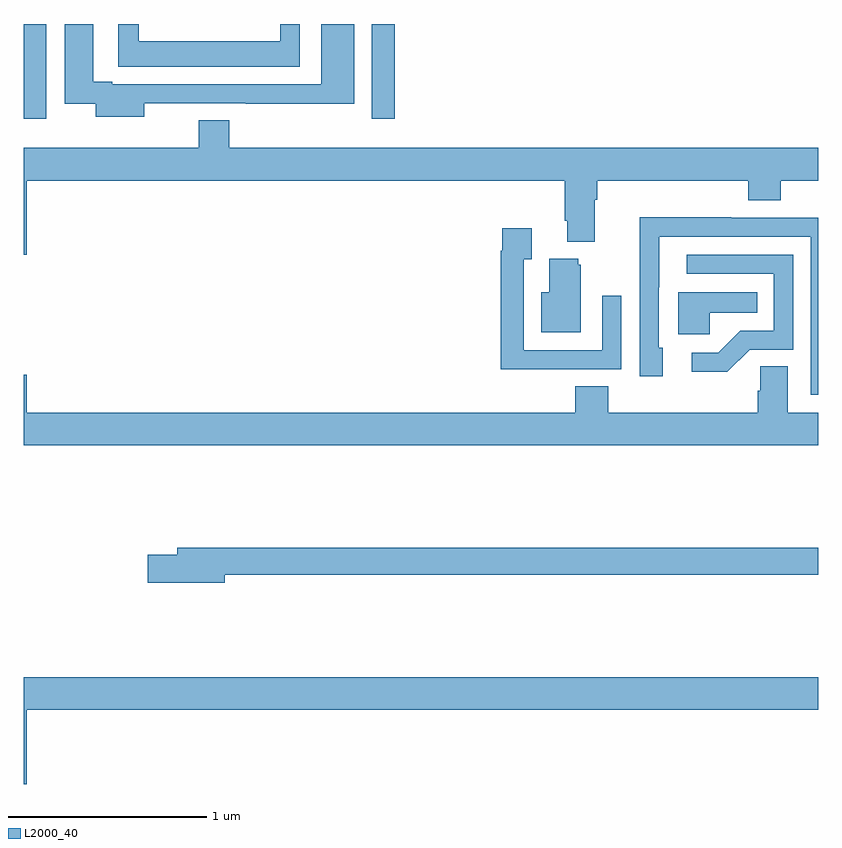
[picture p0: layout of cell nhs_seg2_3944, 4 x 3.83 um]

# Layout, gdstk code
import gdstk
lib = gdstk.Library(unit=1e-6, precision=1e-09)
def R(c, l, rs):  # rectangles x0, y0, x1, y1
    for r in rs: c.add(gdstk.rectangle(r[:2], r[2:], *l))
def P(c, l, *ps):  # polygons
    for p in ps: c.add(gdstk.Polygon(p, *l))
L2000_40 = (2000, 40)

nhs_seg2_3944 = lib.new_cell('nhs_seg2_3944')
R(nhs_seg2_3944, L2000_40, [(321,605.322,321.114,605.8), (322.752,605.322,322.868,605.8)])
P(nhs_seg2_3944, L2000_40, [(322.389,605.8),(322.292,605.8),(322.292,605.713),(321.58,605.713),(321.58,605.8),(321.476,605.8),(321.476,605.585),(322.389,605.585)],
  [(321.607,605.4),(322.117,605.4),(322.117,605.398),(322.663,605.398),(322.663,605.8),(322.499,605.8),(322.499,605.496),(321.445,605.496),(321.445,605.509),(321.349,605.509),(321.349,605.8),(321.206,605.8),(321.206,605.398),(321.362,605.398),(321.362,605.333),(321.607,605.333)],
  [(321.016,605.012),(323.723,605.012),(323.723,604.81),(323.735,604.81),(323.735,604.703),(323.875,604.703),(323.875,604.916),(323.888,604.916),(323.888,605.012),(324.647,605.012),(324.647,604.913),(324.812,604.913),(324.812,605.012),(325,605.012),(325,605.176),(322.034,605.176),(322.034,605.315),(321.881,605.315),(321.881,605.176),(321,605.176),(321,604.638),(321.016,604.638)],
  [(325,604.824),(324.563,604.824),(324.563,604.826),(324.1,604.826),(324.1,604.519),(324.102,604.519),(324.102,604.026),(324.217,604.026),(324.217,604.17),(324.198,604.17),(324.198,604.474),(324.199,604.474),(324.199,604.728),(324.963,604.728),(324.963,603.933),(325,603.933)],
  [(323.693,604.062),(324.009,604.062),(324.009,604.432),(323.913,604.432),(323.913,604.158),(323.517,604.158),(323.517,604.615),(323.557,604.615),(323.557,604.771),(323.409,604.771),(323.409,604.658),(323.401,604.658),(323.401,604.061),(323.693,604.061)],
  [(324.654,604.161),(324.873,604.161),(324.873,604.638),(324.339,604.638),(324.339,604.542),(324.777,604.542),(324.777,604.257),(324.608,604.257),(324.497,604.146),(324.363,604.146),(324.363,604.049),(324.541,604.049)],
  [(323.803,604.587),(323.792,604.587),(323.792,604.618),(323.645,604.618),(323.645,604.45),(323.606,604.45),(323.606,604.247),(323.803,604.247)],
  [(324.453,604.346),(324.692,604.346),(324.692,604.45),(324.296,604.45),(324.296,604.238),(324.453,604.238)],
  [(325,603.844),(324.847,603.844),(324.847,604.076),(324.708,604.076),(324.708,603.953),(324.695,603.953),(324.695,603.844),(323.942,603.844),(323.942,603.977),(323.777,603.977),(323.777,603.844),(321.016,603.844),(321.016,604.033),(321,604.033),(321,603.68),(325,603.68)],
  [(322.012,603.028),(325,603.028),(325,603.164),(321.773,603.164),(321.773,603.128),(321.624,603.128),(321.624,602.986),(322.012,602.986)],
  [(321.016,602.348),(325,602.348),(325,602.512),(321,602.512),(321,601.974),(321.016,601.974)])

lib.write_gds('nhs_seg2_3944.gds')
